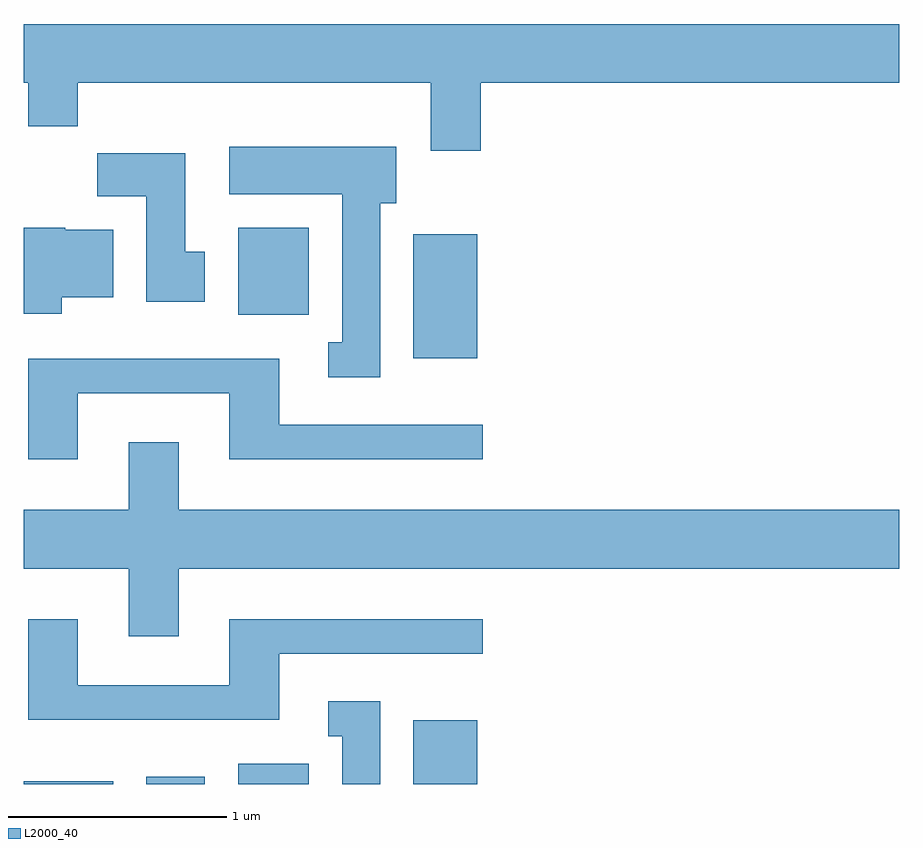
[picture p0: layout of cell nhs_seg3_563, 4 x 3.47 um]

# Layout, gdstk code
import gdstk
lib = gdstk.Library(unit=1e-6, precision=1e-09)
def R(c, l, rs):  # rectangles x0, y0, x1, y1
    for r in rs: c.add(gdstk.rectangle(r[:2], r[2:], *l))
def P(c, l, *ps):  # polygons
    for p in ps: c.add(gdstk.Polygon(p, *l))
L2000_40 = (2000, 40)

nhs_seg3_563 = lib.new_cell('nhs_seg3_563')
R(nhs_seg3_563, L2000_40, [(201.611,1153.892,202.019,1153.904), (202.171,1153.892,202.439,1153.924), (202.591,1153.892,202.914,1153.984), (203.391,1153.892,203.684,1154.184), (203.391,1155.836,203.684,1156.404), (202.591,1156.036,202.914,1156.434)])
P(nhs_seg3_563, L2000_40, [(203.699,1157.096),(205.611,1157.096),(205.611,1157.364),(201.611,1157.364),(201.611,1157.096),(201.631,1157.096),(201.631,1156.896),(201.859,1156.896),(201.859,1157.096),(203.471,1157.096),(203.471,1156.786),(203.699,1156.786)],
  [(203.239,1156.546),(203.314,1156.546),(203.314,1156.804),(202.551,1156.804),(202.551,1156.586),(203.066,1156.586),(203.066,1155.909),(203.003,1155.909),(203.003,1155.751),(203.239,1155.751)],
  [(202.439,1156.324),(202.349,1156.324),(202.349,1156.774),(201.946,1156.774),(201.946,1156.576),(202.171,1156.576),(202.171,1156.096),(202.439,1156.096)],
  [(201.784,1156.116),(202.019,1156.116),(202.019,1156.424),(201.8,1156.424),(201.8,1156.434),(201.611,1156.434),(201.611,1156.041),(201.784,1156.041)],
  [(201.859,1155.676),(202.551,1155.676),(202.551,1155.376),(203.708,1155.376),(203.708,1155.534),(202.779,1155.534),(202.779,1155.834),(201.631,1155.834),(201.631,1155.376),(201.859,1155.376)],
  [(202.319,1154.876),(205.611,1154.876),(205.611,1155.144),(202.319,1155.144),(202.319,1155.454),(202.091,1155.454),(202.091,1155.144),(201.611,1155.144),(201.611,1154.876),(202.091,1154.876),(202.091,1154.566),(202.319,1154.566)],
  [(202.779,1154.486),(203.708,1154.486),(203.708,1154.644),(202.551,1154.644),(202.551,1154.344),(201.859,1154.344),(201.859,1154.644),(201.631,1154.644),(201.631,1154.186),(202.779,1154.186)],
  [(203.239,1154.269),(203.003,1154.269),(203.003,1154.111),(203.066,1154.111),(203.066,1153.892),(203.239,1153.892)])

lib.write_gds('nhs_seg3_563.gds')
